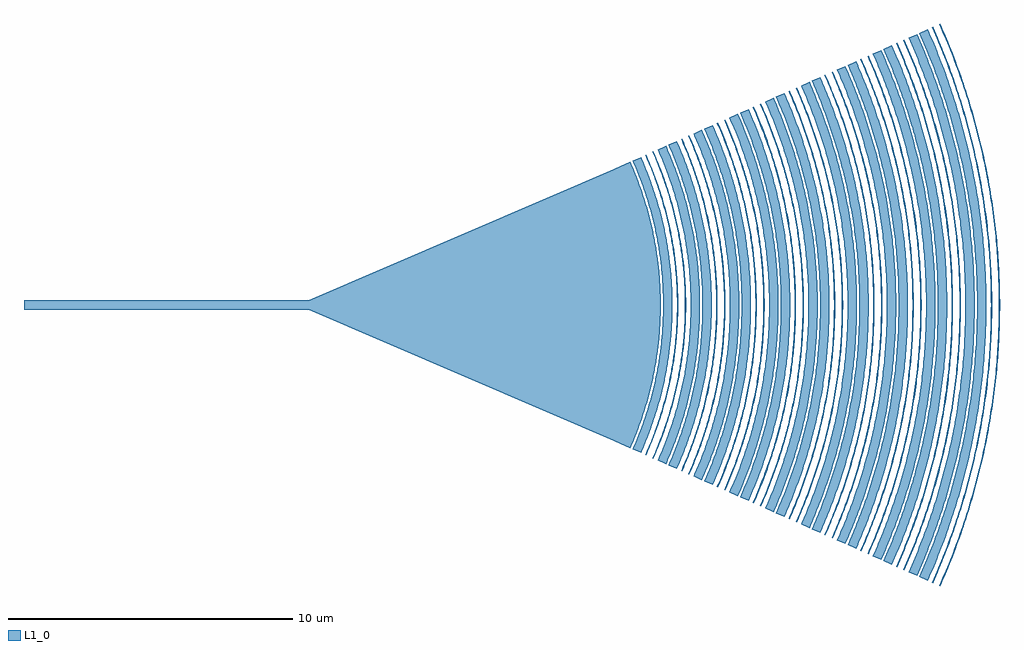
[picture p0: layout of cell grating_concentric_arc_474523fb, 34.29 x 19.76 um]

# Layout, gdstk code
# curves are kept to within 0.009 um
import gdstk
lib = gdstk.Library(unit=1e-6, precision=1e-09)
def R(c, l, rs):  # rectangles x0, y0, x1, y1
    for r in rs: c.add(gdstk.rectangle(r[:2], r[2:], *l))
def P(c, l, *ps):  # polygons
    for p in ps: c.add(gdstk.Polygon(p, *l))
L1_0 = (1, 0)

straight_3aa2beef = lib.new_cell('straight_3aa2beef')
R(straight_3aa2beef, L1_0, [(0,-0.175,10,0.175)])

ring_061734a8_transform_ = lib.new_cell('ring_061734a8_transform_1f26eed2')
P(ring_061734a8_transform_, L1_0, [(10.049,-4.474),(10.246,-4.002),(10.462,-3.399),(10.642,-2.785),(10.76,-2.287),(10.865,-1.721),(10.94,-1.15),(10.985,-0.576),(11,-0.064),(10.985,0.576),(10.94,1.15),(10.865,1.721),(10.76,2.287),(10.642,2.785),(10.462,3.399),(10.246,4.002),(10.049,4.474),(11.3,5.031),(11.623,4.23),(11.89,3.409),(12.099,2.572),(12.249,1.721),(12.334,0.935),(12.369,0.072),(12.344,-0.791),(12.268,-1.579),(12.128,-2.431),(11.929,-3.271),(11.786,-3.754),(11.647,-4.163),(11.3,-5.031)])

ring_4765fa46_transform_ = lib.new_cell('ring_4765fa46_transform_a51c3178')
P(ring_4765fa46_transform_, L1_0, [(11.38,-5.067),(11.603,-4.532),(11.847,-3.849),(11.994,-3.364),(12.154,-2.731),(12.255,-2.234),(12.355,-1.59),(12.421,-0.941),(12.449,-0.435),(12.455,0.217),(12.421,0.941),(12.355,1.59),(12.228,2.377),(12.087,3.014),(11.891,3.711),(11.655,4.396),(11.38,5.067),(11.677,5.199),(11.933,4.581),(12.179,3.879),(12.384,3.164),(12.533,2.512),(12.647,1.852),(12.727,1.188),(12.774,0.446),(12.774,-0.446),(12.727,-1.188),(12.613,-2.073),(12.471,-2.803),(12.245,-3.666),(12.011,-4.372),(11.677,-5.199)])

ring_a5a4bc91_transform_ = lib.new_cell('ring_a5a4bc91_transform_08cd258c')
P(ring_a5a4bc91_transform_, L1_0, [(11.825,-5.265),(11.973,-4.919),(12.084,-4.639),(12.189,-4.356),(12.31,-4),(12.422,-3.64),(12.503,-3.35),(12.595,-2.985),(12.677,-2.617),(12.785,-2.025),(12.838,-1.652),(12.881,-1.278),(12.907,-0.978),(12.93,-0.602),(12.944,-0.075),(12.942,0.226),(12.93,0.602),(12.907,0.978),(12.881,1.278),(12.838,1.652),(12.785,2.025),(12.692,2.544),(12.595,2.985),(12.503,3.35),(12.422,3.64),(12.287,4.071),(12.137,4.498),(11.973,4.919),(11.825,5.265),(11.861,5.281),(11.981,5.004),(12.122,4.653),(12.252,4.299),(12.372,3.94),(12.542,3.36),(12.634,2.994),(12.716,2.626),(12.787,2.255),(12.836,1.956),(12.878,1.657),(12.928,1.207),(12.97,0.604),(12.982,0.227),(12.984,-0.076),(12.976,-0.453),(12.962,-0.755),(12.935,-1.132),(12.905,-1.432),(12.858,-1.807),(12.8,-2.18),(12.731,-2.552),(12.668,-2.847),(12.58,-3.214),(12.502,-3.506),(12.372,-3.94),(12.252,-4.299),(12.067,-4.794),(11.892,-5.212),(11.861,-5.281)])

ring_92b7a5c3_transform_ = lib.new_cell('ring_92b7a5c3_transform_87d6f1c0')
P(ring_92b7a5c3_transform_, L1_0, [(12.077,-5.377),(12.229,-5.024),(12.342,-4.738),(12.525,-4.231),(12.643,-3.865),(12.75,-3.496),(12.899,-2.899),(12.963,-2.598),(13.033,-2.22),(13.092,-1.84),(13.14,-1.458),(13.177,-1.076),(13.198,-0.769),(13.215,-0.385),(13.22,-0.077),(13.217,0.308),(13.206,0.615),(13.183,0.999),(13.156,1.305),(13.081,1.916),(13.02,2.296),(12.963,2.598),(12.828,3.198),(12.75,3.496),(12.643,3.865),(12.525,4.231),(12.397,4.594),(12.229,5.024),(12.077,5.377),(12.114,5.393),(12.266,5.039),(12.38,4.752),(12.513,4.39),(12.611,4.098),(12.681,3.877),(12.809,3.432),(12.885,3.133),(12.971,2.757),(13.059,2.303),(13.109,1.998),(13.162,1.616),(13.196,1.309),(13.228,0.925),(13.246,0.617),(13.257,0.309),(13.26,-0.077),(13.255,-0.386),(13.238,-0.771),(13.21,-1.156),(13.171,-1.539),(13.085,-2.151),(13.017,-2.53),(12.938,-2.908),(12.848,-3.283),(12.747,-3.655),(12.635,-4.024),(12.513,-4.39),(12.352,-4.824),(12.145,-5.323),(12.114,-5.393)])

ring_aff80b13_transform_ = lib.new_cell('ring_aff80b13_transform_def36365')
P(ring_aff80b13_transform_, L1_0, [(12.262,-5.459),(12.503,-4.883),(12.766,-4.148),(12.945,-3.549),(13.096,-2.943),(13.219,-2.331),(13.313,-1.713),(13.378,-1.092),(13.417,-0.39),(13.417,0.39),(13.378,1.092),(13.292,1.868),(13.161,2.638),(13.005,3.323),(12.766,4.148),(12.503,4.883),(12.262,5.459),(12.559,5.592),(12.806,5.001),(13.075,4.248),(13.3,3.481),(13.48,2.702),(13.614,1.913),(13.702,1.118),(13.742,0.4),(13.742,-0.4),(13.688,-1.278),(13.566,-2.23),(13.413,-3.015),(13.193,-3.866),(12.891,-4.777),(12.559,-5.592)])

ring_44e4fcd2_transform_ = lib.new_cell('ring_44e4fcd2_transform_00812115')
P(ring_44e4fcd2_transform_, L1_0, [(12.639,-5.627),(12.858,-5.108),(13.108,-4.428),(13.343,-3.659),(13.499,-3.034),(13.639,-2.323),(13.742,-1.606),(13.802,-0.965),(13.832,-0.322),(13.827,0.483),(13.783,1.206),(13.701,1.926),(13.566,2.719),(13.405,3.425),(13.183,4.199),(12.945,4.883),(12.639,5.627),(12.936,5.76),(13.22,5.075),(13.493,4.297),(13.72,3.506),(13.868,2.863),(14.023,1.971),(14.107,1.234),(14.152,0.494),(14.157,-0.329),(14.107,-1.234),(13.999,-2.134),(13.834,-3.025),(13.612,-3.903),(13.442,-4.454),(13.278,-4.92),(12.936,-5.76)])

ring_d8adb204_transform_ = lib.new_cell('ring_d8adb204_transform_c9774ad4')
P(ring_d8adb204_transform_, L1_0, [(13.084,-5.825),(13.28,-5.365),(13.401,-5.055),(13.622,-4.426),(13.813,-3.787),(13.917,-3.384),(14.01,-2.978),(14.105,-2.487),(14.159,-2.158),(14.216,-1.745),(14.253,-1.414),(14.282,-1.082),(14.303,-0.75),(14.319,-0.333),(14.323,0),(14.319,0.333),(14.303,0.75),(14.282,1.082),(14.253,1.414),(14.216,1.745),(14.159,2.158),(14.105,2.487),(14.027,2.896),(13.877,3.546),(13.697,4.187),(13.596,4.505),(13.401,5.055),(13.28,5.365),(13.084,5.825),(13.121,5.842),(13.285,5.458),(13.409,5.147),(13.553,4.755),(13.66,4.438),(13.783,4.039),(13.895,3.637),(14.049,2.986),(14.13,2.576),(14.186,2.247),(14.245,1.833),(14.284,1.501),(14.315,1.169),(14.343,0.752),(14.359,0.334),(14.363,0),(14.359,-0.334),(14.343,-0.752),(14.315,-1.169),(14.284,-1.501),(14.245,-1.833),(14.186,-2.247),(14.13,-2.576),(14.031,-3.068),(13.936,-3.475),(13.829,-3.878),(13.685,-4.359),(13.553,-4.755),(13.348,-5.303),(13.155,-5.765),(13.121,-5.842)])

ring_2e914d8e_transform_ = lib.new_cell('ring_2e914d8e_transform_935ca3b8')
P(ring_2e914d8e_transform_, L1_0, [(13.337,-5.938),(13.599,-5.311),(13.719,-4.993),(13.858,-4.592),(14.057,-3.942),(14.186,-3.449),(14.28,-3.035),(14.347,-2.702),(14.406,-2.368),(14.457,-2.032),(14.51,-1.61),(14.551,-1.188),(14.579,-0.764),(14.593,-0.425),(14.599,-0.085),(14.597,0.255),(14.587,0.594),(14.569,0.934),(14.536,1.357),(14.48,1.863),(14.445,2.116),(14.331,2.786),(14.186,3.449),(14.057,3.942),(13.986,4.187),(13.858,4.592),(13.719,4.993),(13.536,5.469),(13.337,5.938),(13.373,5.954),(13.541,5.563),(13.667,5.246),(13.785,4.927),(13.949,4.443),(14.072,4.035),(14.162,3.707),(14.264,3.293),(14.337,2.96),(14.402,2.626),(14.472,2.206),(14.53,1.784),(14.576,1.361),(14.609,0.936),(14.627,0.596),(14.639,-0.085),(14.633,-0.426),(14.619,-0.766),(14.597,-1.106),(14.55,-1.615),(14.472,-2.206),(14.417,-2.542),(14.354,-2.877),(14.283,-3.21),(14.162,-3.707),(14.072,-4.035),(13.949,-4.443),(13.841,-4.766),(13.667,-5.246),(13.442,-5.798),(13.373,-5.954)])

ring_7ea0d12c_transform_ = lib.new_cell('ring_7ea0d12c_transform_b127f23c')
P(ring_7ea0d12c_transform_, L1_0, [(13.521,-6.02),(13.787,-5.385),(14.05,-4.656),(14.228,-4.08),(14.422,-3.33),(14.591,-2.485),(14.691,-1.804),(14.759,-1.118),(14.795,-0.43),(14.795,0.43),(14.745,1.29),(14.669,1.975),(14.529,2.824),(14.319,3.748),(14.129,4.41),(13.849,5.224),(13.521,6.02),(13.818,6.152),(14.153,5.338),(14.413,4.59),(14.655,3.745),(14.831,2.973),(14.979,2.105),(15.069,1.318),(15.12,0.44),(15.12,-0.44),(15.061,-1.406),(14.94,-2.366),(14.758,-3.317),(14.516,-4.254),(14.184,-5.256),(13.818,-6.152)])

ring_5f7458fa_transform_ = lib.new_cell('ring_5f7458fa_transform_2b5a78b5')
P(ring_5f7458fa_transform_, L1_0, [(13.899,-6.188),(14.171,-5.535),(14.442,-4.785),(14.649,-4.108),(14.844,-3.336),(14.998,-2.555),(15.111,-1.766),(15.177,-1.061),(15.21,-0.354),(15.205,0.531),(15.156,1.326),(15.066,2.117),(14.9,3.077),(14.695,3.938),(14.442,4.785),(14.171,5.535),(13.899,6.188),(14.196,6.32),(14.507,5.569),(14.806,4.716),(15.033,3.934),(15.254,2.965),(15.388,2.163),(15.488,1.264),(15.53,0.542),(15.535,-0.362),(15.488,-1.264),(15.434,-1.804),(15.362,-2.342),(15.199,-3.231),(14.962,-4.196),(14.806,-4.716),(14.633,-5.23),(14.408,-5.821),(14.196,-6.32)])

ring_c25abaea_transform_ = lib.new_cell('ring_c25abaea_transform_a975f9f6')
P(ring_c25abaea_transform_, L1_0, [(14.344,-6.386),(14.558,-5.882),(14.658,-5.627),(14.816,-5.198),(14.933,-4.852),(15.067,-4.416),(15.166,-4.064),(15.257,-3.71),(15.339,-3.354),(15.463,-2.726),(15.522,-2.366),(15.595,-1.823),(15.633,-1.459),(15.675,-0.913),(15.692,-0.548),(15.701,-0.091),(15.697,0.365),(15.68,0.822),(15.649,1.277),(15.615,1.641),(15.573,2.004),(15.522,2.366),(15.463,2.726),(15.377,3.175),(15.235,3.798),(15.118,4.24),(15.015,4.591),(14.846,5.112),(14.723,5.456),(14.558,5.882),(14.344,6.386),(14.38,6.402),(14.49,6.151),(14.663,5.727),(14.823,5.298),(14.971,4.864),(15.08,4.515),(15.205,4.074),(15.317,3.63),(15.416,3.183),(15.533,2.553),(15.588,2.191),(15.655,1.645),(15.689,1.281),(15.72,0.824),(15.737,0.366),(15.741,-0.092),(15.732,-0.549),(15.709,-1.007),(15.673,-1.463),(15.635,-1.827),(15.588,-2.191),(15.518,-2.643),(15.452,-3.004),(15.378,-3.362),(15.274,-3.808),(15.181,-4.162),(15.08,-4.515),(14.884,-5.125),(14.663,-5.727),(14.49,-6.151),(14.38,-6.402)])

ring_84f71b20_transform_ = lib.new_cell('ring_84f71b20_transform_91da354d')
P(ring_84f71b20_transform_, L1_0, [(14.596,-6.499),(14.883,-5.813),(15.046,-5.377),(15.167,-5.026),(15.333,-4.493),(15.409,-4.225),(15.503,-3.865),(15.609,-3.413),(15.684,-3.049),(15.751,-2.683),(15.835,-2.132),(15.88,-1.763),(15.925,-1.3),(15.956,-0.836),(15.971,-0.465),(15.978,0),(15.971,0.465),(15.956,0.836),(15.925,1.3),(15.89,1.67),(15.847,2.039),(15.795,2.408),(15.735,2.774),(15.666,3.14),(15.589,3.504),(15.503,3.865),(15.384,4.315),(15.252,4.76),(15.167,5.026),(14.982,5.552),(14.779,6.071),(14.596,6.499),(14.633,6.515),(14.816,6.087),(14.954,5.74),(15.083,5.391),(15.234,4.95),(15.345,4.594),(15.472,4.146),(15.586,3.694),(15.668,3.33),(15.758,2.873),(15.835,2.414),(15.887,2.045),(15.93,1.674),(15.972,1.21),(15.996,0.838),(16.011,0.466),(16.018,0),(16.011,-0.466),(15.996,-0.838),(15.972,-1.21),(15.93,-1.674),(15.887,-2.045),(15.835,-2.414),(15.758,-2.873),(15.668,-3.33),(15.586,-3.694),(15.472,-4.146),(15.345,-4.594),(15.175,-5.127),(14.954,-5.74),(14.744,-6.259),(14.633,-6.515)])

ring_bd555baa_transform_ = lib.new_cell('ring_bd555baa_transform_c54242bc')
P(ring_bd555baa_transform_, L1_0, [(14.781,-6.581),(15.105,-5.798),(15.388,-5),(15.604,-4.278),(15.786,-3.548),(15.934,-2.81),(16.059,-1.972),(16.126,-1.316),(16.173,-0.471),(16.173,0.471),(16.126,1.316),(16.009,2.345),(15.864,3.18),(15.676,4.005),(15.417,4.91),(15.105,5.798),(14.781,6.581),(15.078,6.713),(15.443,5.825),(15.784,4.826),(15.991,4.086),(16.202,3.149),(16.37,2.107),(16.458,1.247),(16.498,0.48),(16.498,-0.48),(16.442,-1.438),(16.382,-2.011),(16.302,-2.582),(16.124,-3.525),(15.892,-4.457),(15.697,-5.1),(15.542,-5.555),(15.339,-6.094),(15.078,-6.713)])

ring_5217f0bf_transform_ = lib.new_cell('ring_5217f0bf_transform_5defcd2e')
P(ring_5217f0bf_transform_, L1_0, [(15.158,-6.749),(15.456,-6.036),(15.72,-5.311),(15.95,-4.574),(16.189,-3.638),(16.357,-2.786),(16.469,-2.022),(16.545,-1.254),(16.588,-0.386),(16.579,0.676),(16.521,1.542),(16.417,2.405),(16.269,3.261),(16.052,4.201),(15.81,5.035),(15.525,5.856),(15.158,6.749),(15.455,6.881),(15.794,6.063),(16.12,5.134),(16.391,4.188),(16.588,3.325),(16.753,2.354),(16.862,1.376),(16.913,0.394),(16.913,-0.394),(16.862,-1.376),(16.739,-2.452),(16.661,-2.938),(16.548,-3.517),(16.315,-4.474),(16.12,-5.134),(15.931,-5.694),(15.686,-6.337),(15.455,-6.881)])

ring_3e654e33_transform_ = lib.new_cell('ring_3e654e33_transform_b4c03521')
P(ring_3e654e33_transform_, L1_0, [(15.603,-6.947),(15.799,-6.49),(15.981,-6.028),(16.117,-5.654),(16.244,-5.278),(16.362,-4.899),(16.498,-4.421),(16.596,-4.035),(16.686,-3.648),(16.785,-3.161),(16.854,-2.77),(16.927,-2.279),(16.986,-1.785),(17.015,-1.489),(17.051,-0.993),(17.075,-0.397),(17.08,0),(17.075,0.397),(17.051,0.993),(17.015,1.489),(16.986,1.785),(16.94,2.18),(16.885,2.574),(16.803,3.064),(16.727,3.454),(16.642,3.842),(16.548,4.228),(16.418,4.708),(16.304,5.089),(16.149,5.561),(15.981,6.028),(15.799,6.49),(15.603,6.947),(15.64,6.963),(15.836,6.505),(15.983,6.135),(16.121,5.762),(16.282,5.29),(16.457,4.719),(16.562,4.335),(16.635,4.045),(16.746,3.559),(16.824,3.169),(16.909,2.678),(16.967,2.284),(17.026,1.789),(17.055,1.492),(17.091,0.995),(17.115,0.398),(17.12,0),(17.115,-0.398),(17.091,-0.995),(17.055,-1.492),(17.026,-1.789),(16.967,-2.284),(16.909,-2.678),(16.824,-3.169),(16.725,-3.657),(16.611,-4.142),(16.484,-4.623),(16.372,-5.005),(16.187,-5.574),(15.983,-6.135),(15.72,-6.781),(15.64,-6.963)])

ring_5456c50c_transform_ = lib.new_cell('ring_5456c50c_transform_50367453')
P(ring_5456c50c_transform_, L1_0, [(15.856,-7.059),(16.016,-6.689),(16.167,-6.314),(16.344,-5.841),(16.507,-5.363),(16.656,-4.881),(16.765,-4.492),(16.865,-4.101),(16.956,-3.707),(17.018,-3.411),(17.11,-2.914),(17.173,-2.515),(17.239,-2.015),(17.281,-1.613),(17.321,-1.11),(17.346,-0.606),(17.356,-0.101),(17.355,0.202),(17.342,0.707),(17.314,1.211),(17.271,1.714),(17.227,2.115),(17.158,2.615),(17.075,3.113),(16.998,3.51),(16.888,4.003),(16.791,4.394),(16.684,4.784),(16.568,5.171),(16.411,5.651),(16.275,6.031),(16.016,6.689),(15.856,7.059),(15.892,7.076),(16.091,6.61),(16.241,6.234),(16.381,5.855),(16.545,5.376),(16.694,4.892),(16.855,4.307),(16.973,3.815),(17.037,3.518),(17.096,3.22),(17.182,2.721),(17.254,2.22),(17.311,1.718),(17.354,1.213),(17.382,0.708),(17.395,0.202),(17.396,-0.101),(17.386,-0.607),(17.367,-1.011),(17.33,-1.516),(17.29,-1.919),(17.241,-2.321),(17.166,-2.821),(17.096,-3.22),(16.995,-3.716),(16.855,-4.307),(16.75,-4.698),(16.636,-5.086),(16.481,-5.568),(16.277,-6.14),(16.052,-6.704),(15.892,-7.076)])

ring_ea817882_transform_ = lib.new_cell('ring_ea817882_transform_41878c8b')
P(ring_ea817882_transform_, L1_0, [(16.04,-7.142),(16.318,-6.483),(16.635,-5.62),(16.906,-4.741),(17.131,-3.85),(17.309,-2.948),(17.415,-2.241),(17.508,-1.327),(17.556,-0.306),(17.548,0.613),(17.482,1.632),(17.373,2.545),(17.216,3.45),(17.012,4.347),(16.73,5.329),(16.392,6.292),(16.04,7.142),(16.337,7.274),(16.733,6.312),(17.04,5.427),(17.301,4.528),(17.535,3.514),(17.695,2.592),(17.806,1.662),(17.869,0.728),(17.881,-0.312),(17.859,-0.936),(17.824,-1.455),(17.695,-2.592),(17.493,-3.718),(17.274,-4.629),(17.102,-5.229),(16.875,-5.921),(16.62,-6.603),(16.337,-7.274)])

ring_7313c4e4_transform_ = lib.new_cell('ring_7313c4e4_transform_d605e5fc')
P(ring_7313c4e4_transform_, L1_0, [(16.417,-7.309),(16.74,-6.538),(17.059,-5.653),(17.303,-4.853),(17.534,-3.941),(17.716,-3.018),(17.85,-2.086),(17.92,-1.358),(17.966,-0.418),(17.96,0.627),(17.903,1.566),(17.796,2.501),(17.621,3.532),(17.412,4.449),(17.124,5.454),(16.815,6.343),(16.417,7.309),(16.714,7.442),(17.043,6.656),(17.401,5.654),(17.7,4.633),(17.939,3.596),(18.103,2.652),(18.227,1.595),(18.285,0.639),(18.291,-0.426),(18.236,-1.489),(18.185,-2.018),(18.103,-2.652),(17.918,-3.7),(17.803,-4.219),(17.645,-4.838),(17.433,-5.553),(17.229,-6.158),(17.004,-6.755),(16.714,-7.442)])

ring_cde9bd4d_transform_ = lib.new_cell('ring_cde9bd4d_transform_01ae3e1e')
P(ring_cde9bd4d_transform_, L1_0, [(16.862,-7.508),(17.033,-7.113),(17.232,-6.615),(17.382,-6.212),(17.555,-5.704),(17.683,-5.294),(17.857,-4.674),(17.961,-4.257),(18.055,-3.838),(18.159,-3.311),(18.214,-2.994),(18.279,-2.569),(18.346,-2.036),(18.388,-1.609),(18.427,-1.073),(18.447,-0.644),(18.458,-0.107),(18.453,0.43),(18.438,0.859),(18.413,1.288),(18.368,1.823),(18.321,2.249),(18.231,2.888),(18.159,3.311),(18.077,3.733),(17.961,4.257),(17.884,4.57),(17.773,4.984),(17.652,5.397),(17.453,6.009),(17.308,6.414),(17.074,7.014),(16.862,7.508),(16.899,7.524),(17.07,7.129),(17.27,6.629),(17.455,6.124),(17.626,5.614),(17.782,5.099),(17.896,4.684),(18,4.266),(18.116,3.741),(18.179,3.424),(18.271,2.894),(18.347,2.361),(18.408,1.827),(18.453,1.29),(18.478,0.861),(18.493,0.43),(18.498,-0.108),(18.487,-0.646),(18.467,-1.076),(18.428,-1.612),(18.373,-2.148),(18.303,-2.681),(18.236,-3.106),(18.138,-3.635),(18.048,-4.056),(17.896,-4.684),(17.782,-5.099),(17.626,-5.614),(17.525,-5.921),(17.308,-6.529),(17.07,-7.129),(16.899,-7.524)])

ring_4b817f02_transform_ = lib.new_cell('ring_4b817f02_transform_23eca238')
P(ring_4b817f02_transform_, L1_0, [(17.115,-7.62),(17.288,-7.22),(17.451,-6.816),(17.642,-6.305),(17.818,-5.789),(17.979,-5.269),(18.124,-4.744),(18.23,-4.321),(18.348,-3.788),(18.431,-3.361),(18.521,-2.823),(18.595,-2.283),(18.632,-1.958),(18.673,-1.524),(18.709,-0.98),(18.73,-0.436),(18.735,0),(18.73,0.436),(18.709,0.98),(18.673,1.524),(18.632,1.958),(18.595,2.283),(18.521,2.823),(18.431,3.361),(18.348,3.788),(18.255,4.214),(18.152,4.638),(18.039,5.059),(17.884,5.582),(17.714,6.099),(17.529,6.612),(17.371,7.018),(17.115,7.62),(17.152,7.636),(17.325,7.235),(17.528,6.728),(17.68,6.319),(17.856,5.802),(18.017,5.28),(18.163,4.754),(18.269,4.33),(18.387,3.797),(18.47,3.368),(18.544,2.937),(18.607,2.505),(18.672,1.962),(18.721,1.419),(18.749,0.983),(18.77,0.437),(18.775,0),(18.767,-0.546),(18.743,-1.092),(18.703,-1.636),(18.648,-2.18),(18.592,-2.613),(18.508,-3.153),(18.409,-3.69),(18.318,-4.117),(18.217,-4.542),(18.077,-5.07),(17.922,-5.594),(17.752,-6.112),(17.567,-6.626),(17.325,-7.235),(17.152,-7.636)])

ring_83ac2efb_transform_ = lib.new_cell('ring_83ac2efb_transform_be58b5be')
P(ring_83ac2efb_transform_, L1_0, [(17.3,-7.702),(17.679,-6.786),(17.976,-5.956),(18.263,-5.008),(18.476,-4.152),(18.668,-3.18),(18.796,-2.308),(18.883,-1.431),(18.932,-0.441),(18.932,0.441),(18.891,1.321),(18.809,2.198),(18.704,2.962),(18.61,3.505),(18.476,4.152),(18.32,4.795),(18.173,5.325),(17.976,5.956),(17.795,6.477),(17.558,7.094),(17.3,7.702),(17.597,7.835),(17.983,6.903),(18.319,5.952),(18.606,4.985),(18.864,3.895),(19.059,2.792),(19.179,1.79),(19.236,1.008),(19.254,0.56),(19.257,-0.448),(19.236,-1.008),(19.189,-1.679),(19.059,-2.792),(18.864,-3.895),(18.606,-4.985),(18.387,-5.739),(18.176,-6.377),(17.901,-7.112),(17.597,-7.835)])

ring_fe3af841_transform_ = lib.new_cell('ring_fe3af841_transform_4dafe869')
P(ring_fe3af841_transform_, L1_0, [(17.677,-7.87),(18.024,-7.039),(18.368,-6.086),(18.661,-5.117),(18.879,-4.243),(19.075,-3.249),(19.219,-2.246),(19.303,-1.35),(19.347,-0.338),(19.334,0.788),(19.266,1.799),(19.129,2.916),(18.95,3.913),(18.719,4.899),(18.403,5.979),(18.024,7.039),(17.677,7.87),(17.974,8.002),(18.409,6.944),(18.747,5.971),(19.034,4.982),(19.291,3.866),(19.467,2.852),(19.59,1.829),(19.663,0.687),(19.672,-0.343),(19.619,-1.487),(19.499,-2.625),(19.433,-3.078),(19.291,-3.866),(19.034,-4.982),(18.815,-5.752),(18.565,-6.514),(18.285,-7.264),(17.974,-8.002)])

ring_c006a4c7_transform_ = lib.new_cell('ring_c006a4c7_transform_d61eb095')
P(ring_c006a4c7_transform_, L1_0, [(18.122,-8.068),(18.305,-7.645),(18.478,-7.217),(18.641,-6.785),(18.83,-6.24),(18.97,-5.8),(19.131,-5.246),(19.248,-4.799),(19.379,-4.237),(19.494,-3.672),(19.593,-3.103),(19.66,-2.646),(19.716,-2.188),(19.771,-1.614),(19.81,-1.038),(19.825,-0.692),(19.837,-0.115),(19.834,0.346),(19.81,1.038),(19.789,1.384),(19.74,1.959),(19.675,2.532),(19.593,3.103),(19.515,3.558),(19.427,4.011),(19.248,4.799),(19.1,5.357),(18.936,5.91),(18.756,6.458),(18.601,6.893),(18.349,7.538),(18.122,8.068),(18.158,8.085),(18.342,7.66),(18.557,7.123),(18.756,6.581),(18.904,6.142),(19.075,5.59),(19.2,5.145),(19.341,4.584),(19.443,4.133),(19.575,3.452),(19.65,2.995),(19.729,2.422),(19.78,1.963),(19.82,1.502),(19.85,1.04),(19.874,0.347),(19.877,-0.116),(19.865,-0.694),(19.85,-1.04),(19.811,-1.617),(19.756,-2.193),(19.699,-2.652),(19.614,-3.224),(19.512,-3.793),(19.443,-4.133),(19.341,-4.584),(19.2,-5.145),(19.042,-5.701),(18.868,-6.252),(18.678,-6.798),(18.43,-7.446),(18.158,-8.085)])

ring_a96358ad_transform_ = lib.new_cell('ring_a96358ad_transform_0158c0ea')
P(ring_a96358ad_transform_, L1_0, [(18.374,-8.181),(18.605,-7.643),(18.819,-7.099),(18.979,-6.659),(19.129,-6.215),(19.302,-5.656),(19.428,-5.206),(19.544,-4.752),(19.674,-4.182),(19.766,-3.723),(19.866,-3.146),(19.918,-2.799),(19.991,-2.219),(20.047,-1.636),(20.086,-1.053),(20.105,-0.585),(20.113,-0.117),(20.108,0.468),(20.092,0.936),(20.056,1.52),(20.015,1.986),(19.949,2.567),(19.884,3.031),(19.808,3.493),(19.698,4.067),(19.598,4.525),(19.458,5.093),(19.302,5.656),(19.2,5.992),(18.979,6.659),(18.819,7.099),(18.605,7.643),(18.374,8.181),(18.411,8.197),(18.642,7.658),(18.815,7.222),(18.978,6.783),(19.167,6.228),(19.307,5.78),(19.467,5.216),(19.583,4.762),(19.713,4.19),(19.805,3.73),(19.905,3.153),(19.973,2.689),(20.055,1.99),(20.096,1.523),(20.137,0.821),(20.15,0.352),(20.153,-0.117),(20.137,-0.821),(20.112,-1.289),(20.077,-1.756),(20.017,-2.34),(19.941,-2.921),(19.867,-3.384),(19.783,-3.845),(19.663,-4.419),(19.555,-4.876),(19.373,-5.555),(19.203,-6.116),(19.017,-6.672),(18.815,-7.222),(18.551,-7.875),(18.411,-8.197)])

ring_0fb8dc92_transform_ = lib.new_cell('ring_0fb8dc92_transform_aa9b81a4')
P(ring_0fb8dc92_transform_, L1_0, [(18.559,-8.263),(18.923,-7.391),(19.247,-6.502),(19.561,-5.486),(19.821,-4.455),(20.007,-3.528),(20.164,-2.476),(20.266,-1.417),(20.31,-0.473),(20.31,0.473),(20.266,1.417),(20.164,2.476),(20.027,3.411),(19.896,4.108),(19.768,4.685),(19.623,5.258),(19.428,5.94),(19.209,6.614),(19.008,7.17),(18.559,8.263),(18.856,8.395),(19.27,7.397),(19.667,6.264),(19.998,5.11),(20.238,4.056),(20.44,2.873),(20.562,1.799),(20.606,1.2),(20.632,0.6),(20.635,-0.48),(20.572,-1.679),(20.515,-2.277),(20.44,-2.873),(20.238,-4.056),(19.968,-5.226),(19.739,-6.035),(19.477,-6.833),(19.138,-7.732),(18.856,-8.395)])

ring_a890b585_transform_ = lib.new_cell('ring_a890b585_transform_71684368')
P(ring_a890b585_transform_, L1_0, [(18.936,-8.431),(19.308,-7.541),(19.676,-6.52),(19.958,-5.597),(20.224,-4.545),(20.434,-3.481),(20.574,-2.526),(20.678,-1.446),(20.723,-0.482),(20.723,0.482),(20.678,1.446),(20.602,2.287),(20.454,3.362),(20.224,4.545),(20.083,5.132),(19.892,5.829),(19.676,6.52),(19.437,7.203),(19.219,7.765),(18.936,8.431),(19.233,8.563),(19.655,7.545),(20.023,6.506),(20.204,5.921),(20.367,5.331),(20.514,4.736),(20.643,4.137),(20.831,3.051),(20.925,2.322),(20.984,1.713),(21.041,0.735),(21.048,-0.49),(21.025,-1.102),(20.984,-1.713),(20.925,-2.322),(20.831,-3.051),(20.643,-4.137),(20.514,-4.736),(20.336,-5.449),(20.097,-6.272),(19.866,-6.97),(19.566,-7.773),(19.233,-8.563)])

ring_61e8e8cf_transform_ = lib.new_cell('ring_61e8e8cf_transform_33c25d0d')
P(ring_61e8e8cf_transform_, L1_0, [(19.381,-8.629),(19.577,-8.176),(19.762,-7.718),(19.978,-7.14),(20.139,-6.673),(20.324,-6.085),(20.493,-5.491),(20.615,-5.013),(20.726,-4.532),(20.826,-4.048),(20.935,-3.441),(21.026,-2.83),(21.086,-2.34),(21.135,-1.849),(21.18,-1.234),(21.203,-0.74),(21.215,-0.123),(21.21,0.494),(21.198,0.864),(21.164,1.48),(21.124,1.972),(21.072,2.463),(21.009,2.953),(20.935,3.441),(20.802,4.169),(20.672,4.772),(20.555,5.252),(20.394,5.848),(20.252,6.321),(20.06,6.907),(19.85,7.488),(19.624,8.062),(19.381,8.629),(19.418,8.645),(19.614,8.191),(19.844,7.617),(20.016,7.153),(20.177,6.686),(20.327,6.214),(20.499,5.621),(20.654,5.022),(20.791,4.419),(20.911,3.813),(21.013,3.203),(21.082,2.713),(21.152,2.099),(21.204,1.483),(21.238,0.865),(21.25,0.495),(21.255,-0.124),(21.238,-0.865),(21.212,-1.359),(21.175,-1.853),(21.126,-2.345),(21.049,-2.958),(20.954,-3.569),(20.865,-4.056),(20.765,-4.54),(20.654,-5.022),(20.499,-5.621),(20.327,-6.214),(20.177,-6.686),(20.016,-7.153),(19.888,-7.502),(19.661,-8.077),(19.418,-8.645)])

ring_a2c196e3_transform_ = lib.new_cell('ring_a2c196e3_transform_b53a7962')
P(ring_a2c196e3_transform_, L1_0, [(19.634,-8.742),(19.88,-8.167),(20.019,-7.819),(20.196,-7.351),(20.401,-6.76),(20.589,-6.164),(20.76,-5.563),(20.913,-4.956),(20.996,-4.591),(21.121,-3.978),(21.187,-3.609),(21.283,-2.991),(21.361,-2.371),(21.421,-1.749),(21.456,-1.25),(21.479,-0.75),(21.492,-0.125),(21.489,0.375),(21.469,1),(21.44,1.499),(21.387,2.122),(21.332,2.619),(21.265,3.115),(21.187,3.609),(21.048,4.346),(20.913,4.956),(20.792,5.442),(20.659,5.924),(20.516,6.403),(20.321,6.997),(20.109,7.585),(19.88,8.167),(19.634,8.742),(19.67,8.758),(19.869,8.298),(20.102,7.716),(20.318,7.128),(20.478,6.654),(20.663,6.055),(20.798,5.573),(20.98,4.844),(21.087,4.354),(21.205,3.739),(21.305,3.121),(21.356,2.748),(21.427,2.126),(21.47,1.627),(21.509,1.002),(21.529,0.376),(21.532,-0.125),(21.523,-0.626),(21.509,-1.002),(21.47,-1.627),(21.414,-2.251),(21.356,-2.748),(21.247,-3.492),(21.16,-3.985),(21.035,-4.599),(20.862,-5.33),(20.732,-5.814),(20.554,-6.415),(20.399,-6.892),(20.19,-7.482),(19.917,-8.182),(19.67,-8.758)])

ring_7f9bad82_transform_ = lib.new_cell('ring_7f9bad82_transform_33ee99a7')
P(ring_7f9bad82_transform_, L1_0, [(19.818,-8.824),(20.253,-7.774),(20.593,-6.824),(20.922,-5.737),(21.166,-4.757),(21.386,-3.643),(21.547,-2.519),(21.65,-1.387),(21.691,-0.379),(21.685,0.631),(21.632,1.639),(21.517,2.769),(21.386,3.643),(21.271,4.263),(21.138,4.88),(20.955,5.615),(20.783,6.222),(20.593,6.824),(20.386,7.42),(20.067,8.244),(19.818,8.824),(20.115,8.956),(20.557,7.891),(20.981,6.682),(21.302,5.575),(21.455,4.953),(21.59,4.327),(21.787,3.191),(21.924,2.047),(21.974,1.408),(22.006,0.768),(22.016,-0.384),(21.956,-1.664),(21.885,-2.429),(21.805,-3.064),(21.685,-3.824),(21.59,-4.327),(21.455,-4.953),(21.302,-5.575),(21.057,-6.438),(20.735,-7.41),(20.416,-8.248),(20.115,-8.956)])

ring_9a1d5f5d_transform_ = lib.new_cell('ring_9a1d5f5d_transform_ef981a59')
P(ring_9a1d5f5d_transform_, L1_0, [(20.196,-8.992),(20.592,-8.042),(20.985,-6.954),(21.286,-5.97),(21.569,-4.848),(21.793,-3.712),(21.942,-2.694),(22.044,-1.67),(22.101,-0.514),(22.101,0.514),(22.044,1.67),(21.942,2.694),(21.793,3.712),(21.676,4.344),(21.511,5.098),(21.354,5.722),(21.141,6.463),(20.944,7.076),(20.729,7.682),(20.449,8.4),(20.196,8.992),(20.493,9.124),(20.942,8.039),(21.167,7.426),(21.374,6.808),(21.701,5.68),(21.969,4.536),(22.176,3.38),(22.265,2.734),(22.335,2.085),(22.386,1.435),(22.418,0.783),(22.429,-0.391),(22.408,-1.044),(22.358,-1.825),(22.295,-2.475),(22.214,-3.122),(21.995,-4.408),(21.734,-5.553),(21.49,-6.434),(21.21,-7.303),(20.895,-8.161),(20.493,-9.124)])

ring_20381260_transform_ = lib.new_cell('ring_20381260_transform_a6979f99')
P(ring_20381260_transform_, L1_0, [(20.641,-9.19),(20.849,-8.707),(21.046,-8.22),(21.276,-7.604),(21.447,-7.107),(21.607,-6.606),(21.79,-5.975),(21.923,-5.466),(22.073,-4.826),(22.204,-4.182),(22.295,-3.664),(22.392,-3.014),(22.456,-2.492),(22.508,-1.969),(22.556,-1.314),(22.58,-0.789),(22.594,-0.131),(22.591,0.394),(22.57,1.051),(22.539,1.576),(22.484,2.231),(22.426,2.754),(22.336,3.405),(22.228,4.053),(22.127,4.569),(22.015,5.083),(21.858,5.721),(21.719,6.228),(21.568,6.731),(21.363,7.356),(21.14,7.974),(20.899,8.586),(20.641,9.19),(20.677,9.206),(20.886,8.722),(21.131,8.111),(21.314,7.617),(21.485,7.119),(21.683,6.492),(21.863,5.858),(21.962,5.476),(22.112,4.835),(22.267,4.06),(22.376,3.411),(22.449,2.889),(22.51,2.366),(22.579,1.579),(22.61,1.053),(22.631,0.395),(22.634,-0.132),(22.62,-0.79),(22.596,-1.316),(22.548,-1.973),(22.496,-2.497),(22.414,-3.15),(22.313,-3.801),(22.193,-4.448),(22.112,-4.835),(21.962,-5.476),(21.793,-6.112),(21.567,-6.869),(21.401,-7.369),(21.178,-7.988),(20.886,-8.722),(20.677,-9.206)])

ring_e5f71da3_transform_ = lib.new_cell('ring_e5f71da3_transform_2934a16f')
P(ring_e5f71da3_transform_, L1_0, [(20.893,-9.302),(21.104,-8.814),(21.255,-8.444),(21.491,-7.822),(21.71,-7.194),(21.871,-6.687),(22.021,-6.176),(22.159,-5.662),(22.343,-4.885),(22.45,-4.364),(22.568,-3.709),(22.648,-3.183),(22.731,-2.523),(22.795,-1.861),(22.832,-1.33),(22.857,-0.798),(22.87,-0.133),(22.867,0.399),(22.846,1.064),(22.815,1.595),(22.759,2.258),(22.7,2.787),(22.589,3.578),(22.5,4.102),(22.398,4.625),(22.314,5.015),(22.159,5.662),(22.021,6.176),(21.832,6.814),(21.581,7.572),(21.399,8.072),(21.155,8.691),(20.893,9.302),(20.93,9.319),(21.192,8.706),(21.389,8.21),(21.619,7.585),(21.789,7.08),(21.986,6.443),(22.13,5.93),(22.293,5.284),(22.41,4.763),(22.539,4.11),(22.649,3.452),(22.74,2.792),(22.799,2.262),(22.855,1.598),(22.886,1.066),(22.907,0.4),(22.91,-0.133),(22.897,-0.8),(22.872,-1.332),(22.835,-1.864),(22.771,-2.527),(22.688,-3.189),(22.607,-3.716),(22.49,-4.372),(22.382,-4.894),(22.23,-5.543),(22.095,-6.058),(21.948,-6.571),(21.748,-7.206),(21.483,-7.961),(21.192,-8.706),(20.93,-9.319)])

ring_7ab5a306_transform_ = lib.new_cell('ring_7ab5a306_transform_34b644b3')
P(ring_7ab5a306_transform_, L1_0, [(21.078,-9.384),(21.492,-8.394),(21.859,-7.385),(22.179,-6.36),(22.321,-5.842),(22.511,-5.059),(22.745,-3.874),(22.917,-2.679),(22.985,-2.011),(23.034,-1.342),(23.069,-0.403),(23.063,0.671),(23.007,1.743),(22.901,2.812),(22.745,3.874),(22.623,4.534),(22.451,5.321),(22.251,6.101),(22.064,6.746),(21.816,7.512),(21.588,8.143),(21.342,8.767),(21.078,9.384),(21.375,9.517),(21.844,8.385),(22.253,7.23),(22.415,6.711),(22.635,5.924),(22.914,4.731),(23.042,4.063),(23.151,3.391),(23.255,2.581),(23.309,2.039),(23.366,1.225),(23.388,0.681),(23.394,-0.408),(23.366,-1.225),(23.331,-1.768),(23.255,-2.581),(23.189,-3.121),(23.088,-3.795),(22.968,-4.464),(22.798,-5.263),(22.635,-5.924),(22.415,-6.711),(22.123,-7.618),(21.745,-8.639),(21.375,-9.517)])

ring_32f324b6_transform_ = lib.new_cell('ring_32f324b6_transform_94609d98')
P(ring_32f324b6_transform_, L1_0, [(21.455,-9.552),(21.876,-8.544),(22.25,-7.517),(22.613,-6.342),(22.914,-5.15),(23.152,-3.944),(23.327,-2.726),(23.428,-1.638),(23.482,-0.41),(23.471,0.82),(23.408,1.911),(23.293,2.998),(23.152,3.944),(23,4.749),(22.852,5.416),(22.685,6.078),(22.499,6.736),(22.25,7.517),(22.022,8.161),(21.724,8.924),(21.455,9.552),(21.752,9.685),(22.229,8.533),(22.468,7.883),(22.688,7.226),(23.035,6.029),(23.319,4.815),(23.539,3.588),(23.65,2.764),(23.72,2.075),(23.796,0.831),(23.807,-0.416),(23.753,-1.661),(23.68,-2.489),(23.598,-3.177),(23.495,-3.862),(23.373,-4.543),(23.231,-5.221),(23.035,-6.029),(22.77,-6.962),(22.468,-7.883),(22.077,-8.92),(21.752,-9.685)])

ring_6ba9067e_transform_ = lib.new_cell('ring_6ba9067e_transform_ecbb3de4')
P(ring_6ba9067e_transform_, L1_0, [(21.9,-9.751),(22.121,-9.238),(22.43,-8.461),(22.667,-7.805),(22.799,-7.408),(23.005,-6.742),(23.156,-6.205),(23.294,-5.664),(23.449,-4.984),(23.584,-4.3),(23.699,-3.612),(23.777,-3.06),(23.841,-2.506),(23.893,-1.95),(23.94,-1.255),(23.966,-0.558),(23.973,0),(23.966,0.558),(23.94,1.255),(23.904,1.811),(23.841,2.506),(23.777,3.06),(23.699,3.612),(23.584,4.3),(23.449,4.984),(23.294,5.664),(23.156,6.205),(23.005,6.742),(22.842,7.275),(22.667,7.805),(22.43,8.461),(22.227,8.98),(21.9,9.751),(21.937,9.767),(22.158,9.254),(22.418,8.605),(22.659,7.95),(22.794,7.553),(23.004,6.887),(23.158,6.35),(23.333,5.674),(23.488,4.993),(23.598,4.445),(23.717,3.756),(23.798,3.204),(23.881,2.51),(23.933,1.954),(23.98,1.257),(24.006,0.559),(24.013,0),(24.006,-0.559),(23.98,-1.257),(23.933,-1.954),(23.881,-2.51),(23.798,-3.204),(23.717,-3.756),(23.598,-4.445),(23.488,-4.993),(23.333,-5.674),(23.158,-6.35),(23.004,-6.887),(22.794,-7.553),(22.659,-7.95),(22.516,-8.344),(22.264,-8.995),(21.937,-9.767)])

ring_b8407e1b_transform_ = lib.new_cell('ring_b8407e1b_transform_16c95189')
P(ring_b8407e1b_transform_, L1_0, [(22.153,-9.863),(22.43,-9.214),(22.689,-8.558),(22.882,-8.028),(23.062,-7.493),(23.23,-6.955),(23.423,-6.276),(23.628,-5.455),(23.719,-5.042),(23.804,-4.627),(23.928,-3.933),(24.013,-3.375),(24.101,-2.675),(24.169,-1.973),(24.208,-1.41),(24.239,-0.705),(24.249,-0.141),(24.245,0.423),(24.223,1.128),(24.18,1.832),(24.131,2.394),(24.051,3.095),(23.972,3.654),(23.881,4.211),(23.748,4.904),(23.628,5.455),(23.459,6.14),(23.31,6.684),(23.148,7.225),(22.928,7.895),(22.689,8.558),(22.43,9.214),(22.153,9.863),(22.189,9.879),(22.467,9.23),(22.676,8.704),(22.966,7.908),(23.144,7.371),(23.309,6.831),(23.498,6.15),(23.667,5.464),(23.787,4.912),(23.92,4.218),(24.033,3.52),(24.125,2.82),(24.184,2.258),(24.23,1.694),(24.263,1.13),(24.285,0.424),(24.289,-0.141),(24.279,-0.706),(24.248,-1.412),(24.197,-2.117),(24.125,-2.82),(24.033,-3.52),(23.944,-4.079),(23.843,-4.635),(23.698,-5.326),(23.568,-5.876),(23.387,-6.559),(23.144,-7.371),(22.966,-7.908),(22.676,-8.704),(22.413,-9.36),(22.189,-9.879)])

grating_concentric_arc_4 = lib.new_cell('grating_concentric_arc_474523fb')
P(grating_concentric_arc_4, L1_0, [(0,0.175),(0,-0.175),(10.963,-4.881),(11.203,-4.3),(11.413,-3.708),(11.564,-3.207),(11.716,-2.597),(11.818,-2.084),(11.923,-1.358),(11.978,-0.733),(12,-0.105),(11.989,0.523),(11.945,1.15),(11.868,1.774),(11.738,2.495),(11.564,3.207),(11.413,3.708),(11.203,4.3),(10.963,4.881)])
grating_concentric_arc_4.add(gdstk.Reference(straight_3aa2beef, (-10,0)))
grating_concentric_arc_4.add(gdstk.Reference(ring_061734a8_transform_, (0,0)))
grating_concentric_arc_4.add(gdstk.Reference(ring_4765fa46_transform_, (0,0)))
grating_concentric_arc_4.add(gdstk.Reference(ring_a5a4bc91_transform_, (0,0)))
grating_concentric_arc_4.add(gdstk.Reference(ring_92b7a5c3_transform_, (0,0)))
grating_concentric_arc_4.add(gdstk.Reference(ring_aff80b13_transform_, (0,0)))
grating_concentric_arc_4.add(gdstk.Reference(ring_44e4fcd2_transform_, (0,0)))
grating_concentric_arc_4.add(gdstk.Reference(ring_d8adb204_transform_, (0,0)))
grating_concentric_arc_4.add(gdstk.Reference(ring_2e914d8e_transform_, (0,0)))
grating_concentric_arc_4.add(gdstk.Reference(ring_7ea0d12c_transform_, (0,0)))
grating_concentric_arc_4.add(gdstk.Reference(ring_5f7458fa_transform_, (0,0)))
grating_concentric_arc_4.add(gdstk.Reference(ring_c25abaea_transform_, (0,0)))
grating_concentric_arc_4.add(gdstk.Reference(ring_84f71b20_transform_, (0,0)))
grating_concentric_arc_4.add(gdstk.Reference(ring_bd555baa_transform_, (0,0)))
grating_concentric_arc_4.add(gdstk.Reference(ring_5217f0bf_transform_, (0,0)))
grating_concentric_arc_4.add(gdstk.Reference(ring_3e654e33_transform_, (0,0)))
grating_concentric_arc_4.add(gdstk.Reference(ring_5456c50c_transform_, (0,0)))
grating_concentric_arc_4.add(gdstk.Reference(ring_ea817882_transform_, (0,0)))
grating_concentric_arc_4.add(gdstk.Reference(ring_7313c4e4_transform_, (0,0)))
grating_concentric_arc_4.add(gdstk.Reference(ring_cde9bd4d_transform_, (0,0)))
grating_concentric_arc_4.add(gdstk.Reference(ring_4b817f02_transform_, (0,0)))
grating_concentric_arc_4.add(gdstk.Reference(ring_83ac2efb_transform_, (0,0)))
grating_concentric_arc_4.add(gdstk.Reference(ring_fe3af841_transform_, (0,0)))
grating_concentric_arc_4.add(gdstk.Reference(ring_c006a4c7_transform_, (0,0)))
grating_concentric_arc_4.add(gdstk.Reference(ring_a96358ad_transform_, (0,0)))
grating_concentric_arc_4.add(gdstk.Reference(ring_0fb8dc92_transform_, (0,0)))
grating_concentric_arc_4.add(gdstk.Reference(ring_a890b585_transform_, (0,0)))
grating_concentric_arc_4.add(gdstk.Reference(ring_61e8e8cf_transform_, (0,0)))
grating_concentric_arc_4.add(gdstk.Reference(ring_a2c196e3_transform_, (0,0)))
grating_concentric_arc_4.add(gdstk.Reference(ring_7f9bad82_transform_, (0,0)))
grating_concentric_arc_4.add(gdstk.Reference(ring_9a1d5f5d_transform_, (0,0)))
grating_concentric_arc_4.add(gdstk.Reference(ring_20381260_transform_, (0,0)))
grating_concentric_arc_4.add(gdstk.Reference(ring_e5f71da3_transform_, (0,0)))
grating_concentric_arc_4.add(gdstk.Reference(ring_7ab5a306_transform_, (0,0)))
grating_concentric_arc_4.add(gdstk.Reference(ring_32f324b6_transform_, (0,0)))
grating_concentric_arc_4.add(gdstk.Reference(ring_6ba9067e_transform_, (0,0)))
grating_concentric_arc_4.add(gdstk.Reference(ring_b8407e1b_transform_, (0,0)))

lib.write_gds('grating_concentric_arc_474523fb.gds')
